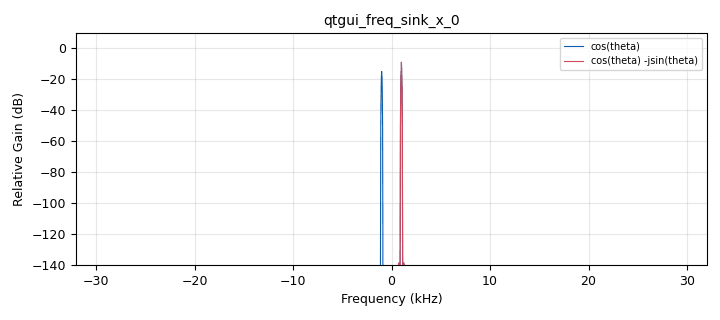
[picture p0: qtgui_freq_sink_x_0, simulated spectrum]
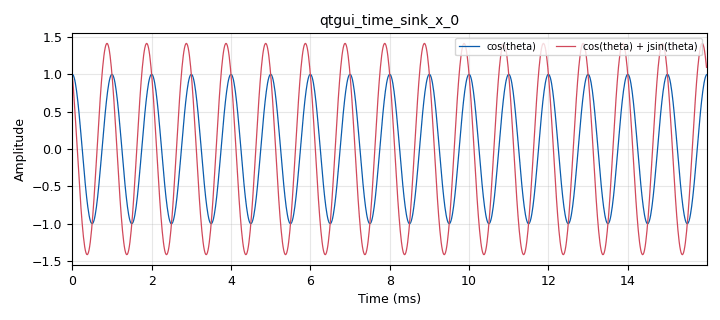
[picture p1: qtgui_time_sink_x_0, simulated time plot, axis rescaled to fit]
options:
  parameters:
    category: Custom
    generate_options: qt_gui
    id: iq_example
    output_language: python
  states: {}

blocks:
- name: amp_a
  id: variable_qtgui_range
  parameters:
    label: 'cos Amplitude '
    orient: Qt.Horizontal
    start: '0'
    step: '0.01'
    stop: '1'
    value: '1'
  states: {}
- name: amp_b
  id: variable_qtgui_range
  parameters:
    label: 'sin Amplitude '
    orient: Qt.Horizontal
    start: '0'
    step: '0.01'
    stop: '1'
    value: '1'
  states: {}
- name: freq_a
  id: variable_qtgui_range
  parameters:
    label: cos Frequency
    orient: Qt.Horizontal
    start: 1e2
    step: '1'
    stop: samp_rate/2
    value: 1e3
  states: {}
- name: freq_b
  id: variable_qtgui_range
  parameters:
    label: sin Frequency
    orient: Qt.Horizontal
    start: 1e2
    step: '1'
    stop: samp_rate/2
    value: 1e3
  states: {}
- name: samp_rate
  id: variable
  parameters:
    value: '64000'
  states: {}
- name: blocks_float_to_complex_0
  id: blocks_float_to_complex
  parameters: {}
  states: {}
- name: blocks_float_to_complex_0_0
  id: blocks_float_to_complex
  parameters: {}
  states: {}
- name: blocks_sub_xx_0
  id: blocks_sub_xx
  parameters:
    type: float
  states: {}
- name: blocks_throttle_0
  id: blocks_throttle
  parameters:
    samples_per_second: samp_rate
    type: float
  states: {}
- name: qtgui_freq_sink_x_0
  id: qtgui_freq_sink_x
  parameters:
    bw: samp_rate
    ctrlpanel: 'True'
    fc: '0'
    fftsize: '2048'
    gui_hint: tab@1
    label1: cos(theta)
    label2: cos(theta) -jsin(theta)
    nconnections: '2'
    showports: 'True'
    type: complex
    wintype: firdes.WIN_BLACKMAN_hARRIS
  states: {}
- name: qtgui_time_sink_x_0
  id: qtgui_time_sink_x
  parameters:
    ctrlpanel: 'True'
    gui_hint: tab@0
    label1: cos(theta)
    label2: cos(theta) + jsin(theta)
    name: ''
    nconnections: '2'
    size: '1024'
    srate: samp_rate
    type: float
  states: {}
- name: signal_A
  id: analog_sig_source_x
  parameters:
    amp: amp_a
    freq: freq_a
    offset: '0'
    phase: '0'
    samp_rate: samp_rate
    type: float
    waveform: analog.GR_COS_WAVE
  states: {}
- name: signal_A_0
  id: analog_sig_source_x
  parameters:
    amp: amp_b
    freq: freq_b
    offset: '0'
    phase: '0'
    samp_rate: samp_rate
    type: float
    waveform: analog.GR_SIN_WAVE
  states: {}
- name: tab
  id: qtgui_tab_widget
  parameters:
    label0: Time Domain
    label1: Frequency Domain
    num_tabs: '2'
  states: {}

connections:
- [blocks_float_to_complex_0, '0', qtgui_freq_sink_x_0, '0']
- [blocks_float_to_complex_0_0, '0', qtgui_freq_sink_x_0, '1']
- [blocks_sub_xx_0, '0', qtgui_time_sink_x_0, '1']
- [blocks_throttle_0, '0', blocks_float_to_complex_0, '0']
- [blocks_throttle_0, '0', qtgui_time_sink_x_0, '0']
- [signal_A, '0', blocks_float_to_complex_0_0, '0']
- [signal_A, '0', blocks_sub_xx_0, '0']
- [signal_A, '0', blocks_throttle_0, '0']
- [signal_A_0, '0', blocks_float_to_complex_0_0, '1']
- [signal_A_0, '0', blocks_sub_xx_0, '1']

metadata:
  file_format: 1
